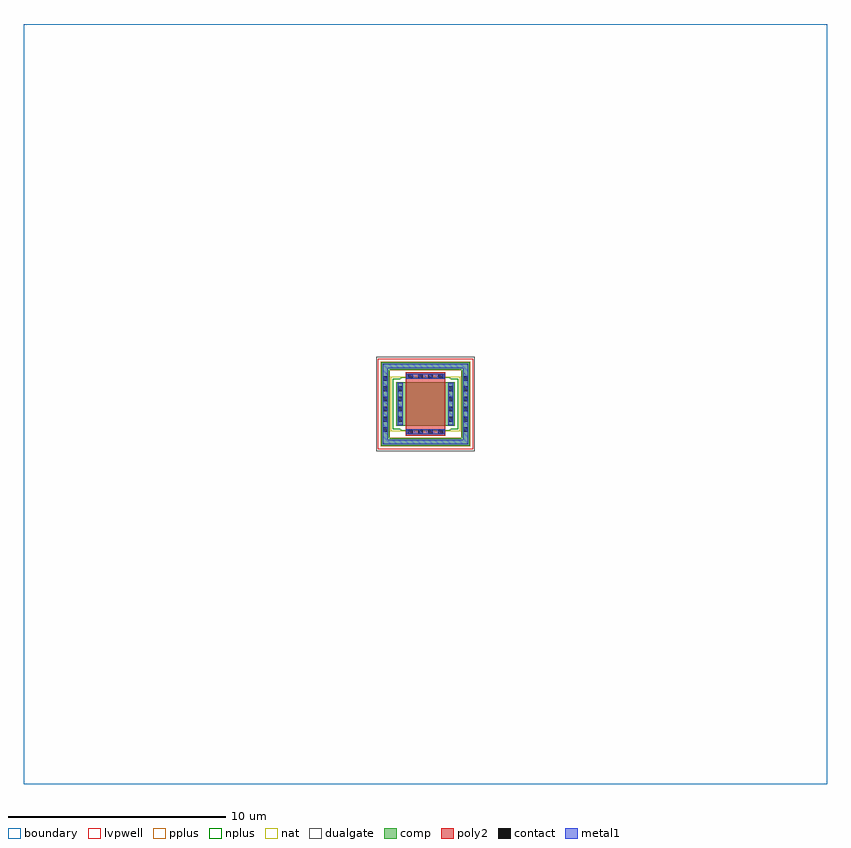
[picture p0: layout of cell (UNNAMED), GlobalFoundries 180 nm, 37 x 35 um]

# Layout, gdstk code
import gdstk
lib = gdstk.Library(unit=1e-6, precision=1e-09)
def R(c, l, rs):  # rectangles x0, y0, x1, y1
    for r in rs: c.add(gdstk.rectangle(r[:2], r[2:], *l))
def A(c, l, x, y, w, h, nx, ny, dx, dy):  # array of equal rectangles
    R(c, l, [(x+i*dx, y+j*dy, x+i*dx+w, y+j*dy+h) for i in range(nx) for j in range(ny)])
boundary = (0, 0)
nat = (5, 0)
comp = (22, 0)
poly2 = (30, 0)
pplus = (31, 0)
nplus = (32, 0)
contact = (33, 0)
metal1 = (34, 0)
dualgate = (55, 0)
lvpwell = (204, 0)

c__unnamed_ = lib.new_cell('(UNNAMED)')
R(c__unnamed_, boundary, [(-18.5,-17.5,18.5,17.5)])
R(c__unnamed_, nat, [(-1.6,-1.26,1.6,1.26)])
R(c__unnamed_, comp, [(-2.03,-1.93,2.03,-1.57), (-2.03,-1.57,-1.67,1.57), (1.67,-1.57,2.03,1.57), (-1.34,-1,1.34,1), (-2.03,1.57,2.03,1.93)])
R(c__unnamed_, poly2, [(-0.9,-1.46,0.9,1.46)])
R(c__unnamed_, pplus, [(-2.05,-1.95,2.05,-1.55), (-2.05,-1.55,-1.64,-1.445), (1.64,-1.55,2.05,-1.445), (-2.06,-1.445,-1.64,1.445), (1.64,-1.445,2.06,1.445), (-2.05,1.445,-1.64,1.55), (1.64,1.445,2.05,1.55), (-2.05,1.55,2.05,1.95)])
R(c__unnamed_, nplus, [(-1.13,-1.23,1.13,-1.16), (-1.5,-1.16,1.5,1.16), (-1.13,1.16,1.13,1.23)])
A(c__unnamed_, contact, -0.815, -1.39, 0.22, 0.22, 4, 2, 0.47, 2.56)
A(c__unnamed_, contact, -1.96, -1.285, 0.22, 0.22, 1, 6, 0, 0.47)
A(c__unnamed_, contact, 1.74, -1.285, 0.22, 0.22, 1, 6, 0, 0.47)
A(c__unnamed_, contact, -1.27, -0.815, 0.22, 0.22, 1, 4, 0, 0.47)
A(c__unnamed_, contact, 1.05, -0.815, 0.22, 0.22, 1, 4, 0, 0.47)
R(c__unnamed_, metal1, [(-1.965,-1.865,1.965,-1.635), (-1.965,-1.635,-1.735,1.635), (1.735,-1.635,1.965,1.635), (-0.89,-1.395,0.89,-1.165), (-1.275,-0.99,-1.045,0.99), (1.045,-0.99,1.275,0.99), (-0.89,1.165,0.89,1.395), (-1.965,1.635,1.965,1.865)])
R(c__unnamed_, dualgate, [(-2.27,-2.17,2.27,2.17)])
R(c__unnamed_, lvpwell, [(-2.19,-2.09,2.19,2.09)])

lib.write_gds('_UNNAMED_.gds')
